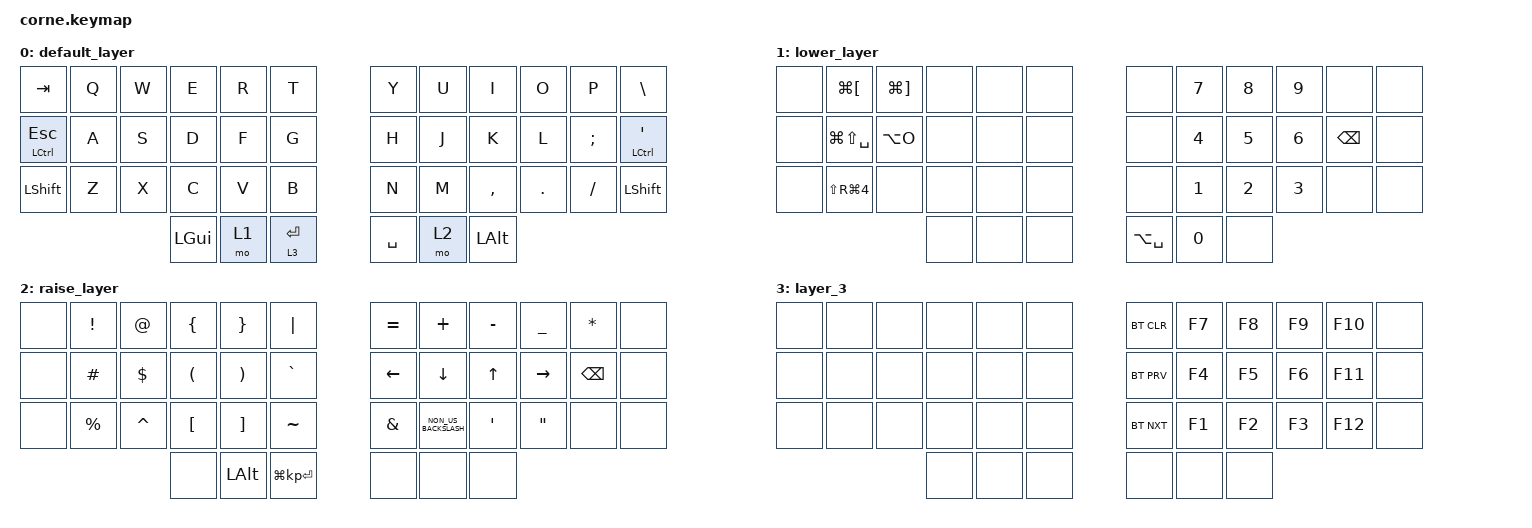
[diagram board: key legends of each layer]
/*
 * Copyright (c) 2020 The ZMK Contributors
 *
 * SPDX-License-Identifier: MIT
 */

#include <behaviors.dtsi>
#include <dt-bindings/zmk/bt.h>
#include <dt-bindings/zmk/keys.h>

&mt {
    flavor = "tap-preferred";
    tapping-term-ms = <200>;
};

/ {
    combos {
        compatible = "zmk,combos";

        esc {
            bindings = <&kp ESCAPE>;
            key-positions = <19 20>;
        };
    };

    keymap {
        compatible = "zmk,keymap";

        default_layer {
            // -----------------------------------------------------------------------------------------
            // |  TAB |  Q  |  W  |  E  |  R  |  T  |   |  Y  |  U   |  I  |  O  |  P  | BKSP |
            // | CTRL |  A  |  S  |  D  |  F  |  G  |   |  H  |  J   |  K  |  L  |  ;  |  '   |
            // | SHFT |  Z  |  X  |  C  |  V  |  B  |   |  N  |  M   |  ,  |  .  |  /  | ESC  |
            //                    | GUI | LWR | SPC |   | ENT | RSE  | ALT |

            bindings = <
&kp TAB                  &kp Q  &kp W  &kp E         &kp R  &kp T          &kp Y      &kp U  &kp I         &kp O    &kp P          &kp BACKSLASH
&mt LEFT_CONTROL ESCAPE  &kp A  &kp S  &kp D         &kp F  &kp G          &kp H      &kp J  &kp K         &kp L    &kp SEMICOLON  &mt LEFT_CONTROL SINGLE_QUOTE
&kp LEFT_SHIFT           &kp Z  &kp X  &kp C         &kp V  &kp B          &kp N      &kp M  &kp COMMA     &kp DOT  &kp SLASH      &kp LEFT_SHIFT
                                       &kp LEFT_GUI  &mo 1  &lt 3 ENTER    &kp SPACE  &mo 2  &kp LEFT_ALT
            >;
        };

        lower_layer {
            // -----------------------------------------------------------------------------------------
            // |  TAB |  1  |  2  |  3  |  4  |  5  |   |  6  |  7  |  8  |  9  |  0  | BKSP |
            // | BTCLR| BT1 | BT2 | BT3 | BT4 | BT5 |   | LFT | DWN |  UP | RGT |     |      |
            // | SHFT |     |     |     |     |     |   |     |     |     |     |     |      |
            //                    | GUI |     | SPC |   | ENT |     | ALT |

            bindings = <
&none  &kp LG(LEFT_BRACKET)  &kp LG(RIGHT_BRACKET)  &none  &none  &none    &none          &kp N7        &kp N8        &kp N9        &none          &none
&none  &kp LG(LS(SPACE))     &kp LA(O)              &none  &none  &none    &none          &kp NUMBER_4  &kp N5        &kp N6        &kp BACKSPACE  &none
&none  &kp LS(RG(NUMBER_4))  &none                  &none  &none  &none    &none          &kp NUMBER_1  &kp NUMBER_2  &kp NUMBER_3  &none          &none
                                                    &none  &none  &none    &kp LA(SPACE)  &kp NUMBER_0  &none
            >;
        };

        raise_layer {
            // -----------------------------------------------------------------------------------------
            // |  TAB |  !  |  @  |  #  |  $  |  %  |   |  ^  |  &  |  *  |  (  |  )  | BKSP |
            // | CTRL |     |     |     |     |     |   |  -  |  =  |  [  |  ]  |  \  |  `   |
            // | SHFT |     |     |     |     |     |   |  _  |  +  |  {  |  }  | "|" |  ~   |
            //                    | GUI |     | SPC |   | ENT |     | ALT |

            bindings = <
&none  &kp EXCL     &kp AT      &kp LEFT_BRACE        &kp RIGHT_BRACE        &kp PIPE            &kp EQUAL       &kp PLUS              &kp MINUS         &kp UNDERSCORE     &kp STAR       &none
&none  &kp HASH     &kp DOLLAR  &kp LEFT_PARENTHESIS  &kp RIGHT_PARENTHESIS  &kp GRAVE           &kp LEFT_ARROW  &kp DOWN              &kp UP_ARROW      &kp RIGHT          &kp BACKSPACE  &none
&none  &kp PERCENT  &kp CARET   &kp LEFT_BRACKET      &kp RIGHT_BRACKET      &kp TILDE           &kp AMPERSAND   &kp NON_US_BACKSLASH  &kp SINGLE_QUOTE  &kp DOUBLE_QUOTES  &none          &none
                                &none                 &kp LEFT_ALT           &kp LG(KP_ENTER)    &none           &none                 &none
            >;
        };

        layer_3 {
            bindings = <
&none  &none  &none  &none  &none  &none    &bt BT_CLR  &kp F7  &kp F8  &kp F9  &kp F10  &none
&none  &none  &none  &none  &none  &none    &bt BT_PRV  &kp F4  &kp F5  &kp F6  &kp F11  &none
&none  &none  &none  &none  &none  &none    &bt BT_NXT  &kp F1  &kp F2  &kp F3  &kp F12  &none
                     &none  &none  &none    &none       &none   &none
            >;
        };
    };
};
